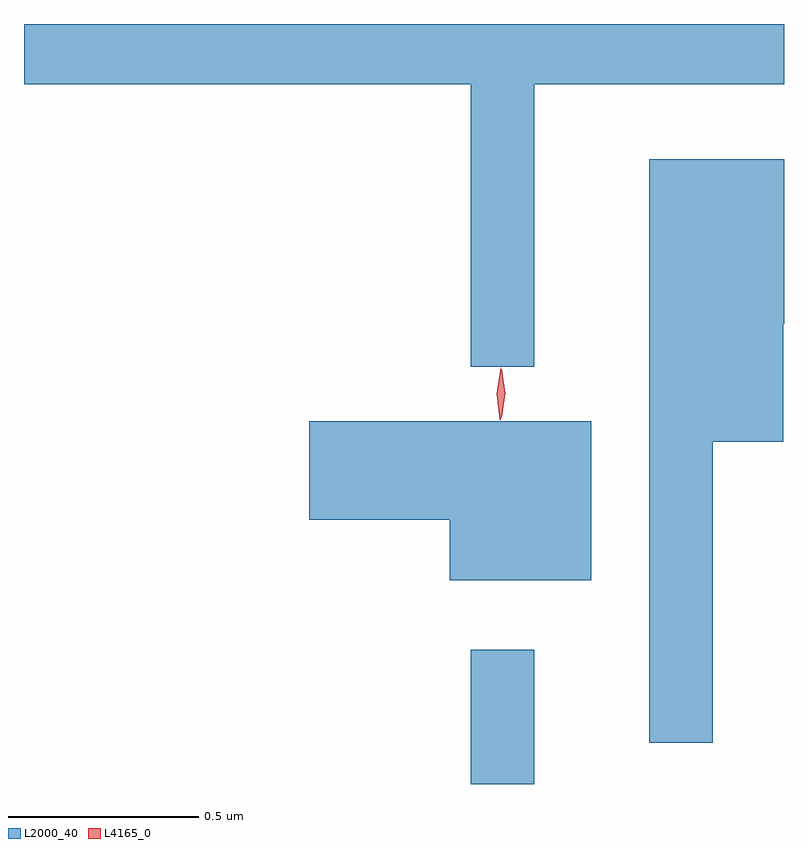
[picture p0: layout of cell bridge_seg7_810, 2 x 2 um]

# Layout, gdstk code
import gdstk
lib = gdstk.Library(unit=1e-6, precision=1e-09)
def R(c, l, rs):  # rectangles x0, y0, x1, y1
    for r in rs: c.add(gdstk.rectangle(r[:2], r[2:], *l))
def P(c, l, *ps):  # polygons
    for p in ps: c.add(gdstk.Polygon(p, *l))
L2000_40 = (2000, 40)
L4165_0 = (4165, 0)

bridge_seg7_810 = lib.new_cell('bridge_seg7_810')
R(bridge_seg7_810, L2000_40, [(212.391,1765.755,212.559,1766.108)])
P(bridge_seg7_810, L2000_40, [(212.559,1767.596),(213.216,1767.596),(213.216,1767.755),(211.216,1767.755),(211.216,1767.596),(212.391,1767.596),(212.391,1766.853),(212.559,1766.853)],
  [(213.029,1766.656),(213.214,1766.656),(213.214,1766.966),(213.216,1766.966),(213.216,1767.399),(212.861,1767.399),(212.861,1765.863),(213.029,1765.863)],
  [(212.709,1766.709),(211.966,1766.709),(211.966,1766.451),(212.336,1766.451),(212.336,1766.291),(212.709,1766.291)])
P(bridge_seg7_810, L4165_0, [(212.472,1766.72),(212.463,1766.783),(212.472,1766.846),(212.473,1766.847),(212.473,1766.846),(212.483,1766.783),(212.473,1766.72),(212.473,1766.72)],
  [(212.468,1766.714),(212.46,1766.782),(212.47,1766.85),(212.47,1766.85),(212.471,1766.85),(212.48,1766.782),(212.47,1766.714),(212.469,1766.714)])

lib.write_gds('bridge_seg7_810.gds')
